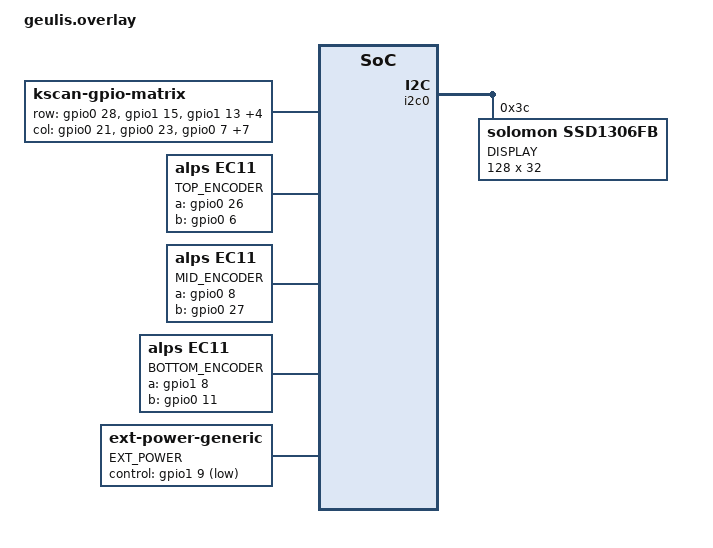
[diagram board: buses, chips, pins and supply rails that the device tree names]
/*
 * Copyright (c) 2020 The ZMK Contributors
 *
 * SPDX-License-Identifier: MIT
 */

#include "geulis.dtsi"

/ {

    kscan0: kscan {
        compatible = "zmk,kscan-gpio-matrix";
        label = "KSCAN";
        diode-direction = "col2row";
        
        row-gpios
            = <&gpio0 28 (GPIO_ACTIVE_HIGH | GPIO_PULL_DOWN)>
            , <&gpio1 15 (GPIO_ACTIVE_HIGH | GPIO_PULL_DOWN)>
            , <&gpio1 13 (GPIO_ACTIVE_HIGH | GPIO_PULL_DOWN)>
            , <&gpio1 4  (GPIO_ACTIVE_HIGH | GPIO_PULL_DOWN)>
            , <&gpio1 6  (GPIO_ACTIVE_HIGH | GPIO_PULL_DOWN)>
            , <&gpio1 2  (GPIO_ACTIVE_HIGH | GPIO_PULL_DOWN)>
            , <&gpio1 1  (GPIO_ACTIVE_HIGH | GPIO_PULL_DOWN)>
            ;

        col-gpios
            = <&gpio0 21 GPIO_ACTIVE_HIGH >
            , <&gpio0 23 GPIO_ACTIVE_HIGH >
            , <&gpio0 7 GPIO_ACTIVE_HIGH >
            , <&gpio0 12 GPIO_ACTIVE_HIGH >
            , <&gpio0 2 GPIO_ACTIVE_HIGH >
            , <&gpio0 3 GPIO_ACTIVE_HIGH >
            , <&gpio1 3 GPIO_ACTIVE_HIGH >
            , <&gpio0 31 GPIO_ACTIVE_HIGH >
            , <&gpio0 29 GPIO_ACTIVE_HIGH >
            , <&gpio0 30 GPIO_ACTIVE_HIGH >
            ;
    };

    top_encoder: encoder_top {
        compatible = "alps,ec11";
        label = "TOP_ENCODER";
        a-gpios = <&gpio0 26 (GPIO_ACTIVE_HIGH | GPIO_PULL_UP)>;
        b-gpios = <&gpio0 6 (GPIO_ACTIVE_HIGH | GPIO_PULL_UP)>;
        resolution = <4>;
    };

    mid_encoder: encoder_mid {
        compatible = "alps,ec11";
        label = "MID_ENCODER";
        a-gpios = <&gpio0 8 (GPIO_ACTIVE_HIGH | GPIO_PULL_UP)>;
        b-gpios = <&gpio0 27 (GPIO_ACTIVE_HIGH | GPIO_PULL_UP)>;
        resolution = <4>;
    };
    bottom_encoder: encoder_bottom {
        compatible = "alps,ec11";
        label = "BOTTOM_ENCODER";
        a-gpios = <&gpio1 8 (GPIO_ACTIVE_HIGH | GPIO_PULL_UP)>;
        b-gpios = <&gpio0 11 (GPIO_ACTIVE_HIGH | GPIO_PULL_UP)>;
        resolution = <4>;
    };

    ext-power { 
		compatible = "zmk,ext-power-generic"; 
		label = "EXT_POWER"; 
		control-gpios = <&gpio1 9 GPIO_ACTIVE_LOW>;
		init-delay-ms = <120>; 
	};
	sensors {
        compatible = "zmk,keymap-sensors";
        sensors = <&top_encoder &mid_encoder &bottom_encoder>;
    };
};

// &top_encoder {
//     status = "okay";
// };

// &mid_encoder {
//     status = "okay";
// };

// &bottom_encoder {
//     status = "okay";
// };


&i2c0 {
	status = "okay";

	oled: ssd1306@3c {
		compatible = "solomon,ssd1306fb";
		reg = <0x3c>;
		label = "DISPLAY";
		width = <128>;
		height = <32>;
		segment-offset = <0>;
		page-offset = <0>;
		display-offset = <0>;
		multiplex-ratio = <31>;
		segment-remap;
		com-invdir;
		com-sequential;
		prechargep = <0x22>;
	};
};
